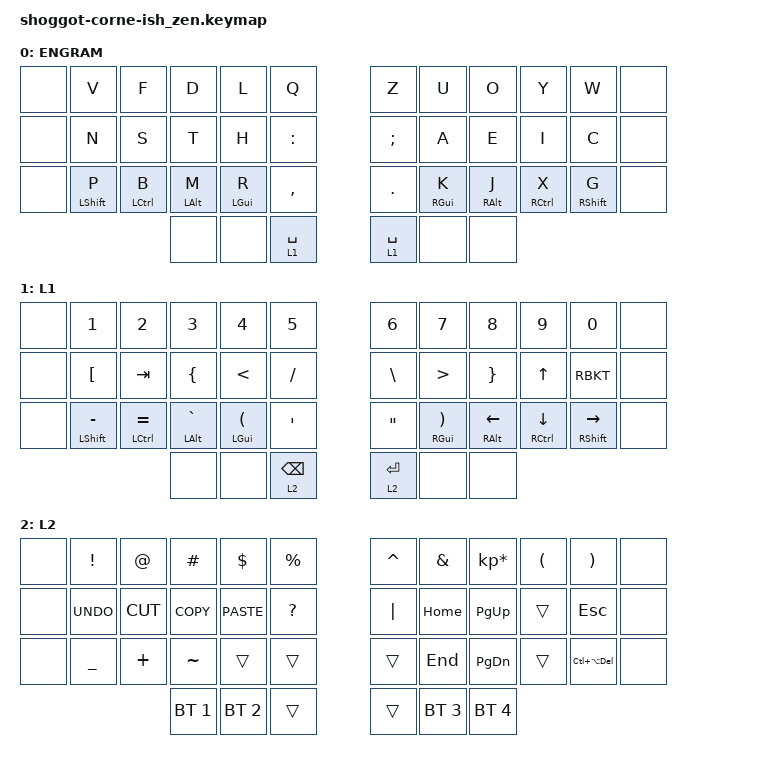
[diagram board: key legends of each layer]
/*
*
* Copyright (c) 2021 Darryl deHaan
* SPDX-License-Identifier: MIT
*
*/

#include <behaviors.dtsi>
#include <dt-bindings/zmk/keys.h>
#include <dt-bindings/zmk/bt.h>

/ {
        keymap {
                compatible = "zmk,keymap";

                default_layer {
                        label = "ENGRAM";
// -----------------------------------------------------------------------------------------
// |  --- |  V  |  F  |  D  |  L  |  Q  |   |  Z  |  U   |  O  |  Y  |  W  | ---  |     &bt BT_SEL 1 &bt BT_SEL 2 &bt BT_SEL 3 &bt BT_SEL 4
// |  --- |  N  |  S  |  T  |  H  |  :  |   |  ;  |  A   |  E  |  I  |  C  | ---  |
// |  --- |  P  |  B  |  M  |  R  |  ,  |   |  .  |  K   |  J  |  X  |  G  | ---  |
//                    | --- | --- | SPC |   | SPC | ---  | --- |                          &mt LSHIFT A
                        bindings = <
   &none &kp V &kp F &kp D &kp L &kp Q                               &kp Z &kp U &kp O  &kp Y &kp W &none 
   &none &kp N &kp S &kp T &kp H &kp COLON                           &kp SEMICOLON &kp A &kp E  &kp I &kp C &none 
   &none &mt LSHIFT P &mt LCTRL B &mt LALT M &mt LGUI R &kp COMMA    &kp PERIOD &mt RGUI K &mt RALT J &mt RCTRL X &mt RSHIFT G &none 
                  &none &none &lt 1 SPACE   &lt 1 SPACE &none &none 
                        >;
                };
                lower_layer {
                        label = "L1";
// -----------------------------------------------------------------------------------------
// |  --- |  1  |  2  |  3  |  4  |  5  |   |  6  |  7  |  8  |  9  |  0  | ---  |
// |  --- |  [  | TAB |  {  |  <  |  /  |   |  \  |  >  |  }  | UP  |  ]  | ---  |
// |  --- |  -  |  =  |  `  |  (  |  '  |   |  "  |  )  | LFT | DWN | RGT | ---  |
//                    | --- |     |BKSPC|   | ENT |     | --- |
                        bindings = <
   &none &kp N1 &kp N2 &kp N3 &kp N4 &kp N5                &kp N6 &kp N7 &kp N8 &kp N9 &kp N0 &none 
   &none &kp LBKT &kp TAB &kp LBRC &kp LT &kp FSLH           &kp BSLH &kp GT &kp RBRC &kp UP &RBKT &none 
   &none &mt LSHIFT MINUS &mt LCTRL EQUAL &mt LALT GRAVE &mt LGUI LPAR &kp SQT    &kp DQT &mt RGUI RPAR &mt RALT LEFT &mt RCTRL DOWN &mt RSHIFT RIGHT &none 
                          	 &none &none &lt 2 BSPC    &lt 2 ENTER &none &none 
                        >;
                };

                raise_layer {
                        label = "L2";
// -----------------------------------------------------------------------------------------
// |  --- |  !  |  @  |  #  |  $  |  %  |   |  ^  |  &  |  *  |  (  |  )  | ---  |
// |  --- |  z  |  x  |  c  |  v  |  ?  |   | "|" | HOM | PUP | --- | ESC | ---  |
// |  --- |  _  |  +  |  ~  | --- | --- |   | --- | END | PDN | --- | CAD | ---  |
//                    | BT1 | BT2 | --- |   | --- | BT3 | BT4 |
                        bindings = <
   &none &kp EXCL &kp AT &kp HASH &kp DLLR &kp PRCNT              &kp CARET &kp AMPS  &kp KP_MULTIPLY &kp LPAR &kp RPAR &none 
   &none &kp K_UNDO &kp K_CUT &kp K_COPY &kp K_PASTE &kp QMARK    &kp PIPE &kp HOME &kp PG_UP &trans &kp ESC &none 
   &none &kp UNDER &kp PLUS &kp TILDE &trans &trans               &trans &kp END  &kp PG_DN &trans &kp LC(LA(DEL)) &none 
                    	    &bt BT_SEL 1 &bt BT_SEL 2 &trans    &trans &bt BT_SEL 3 &bt BT_SEL 4
                        >;
                };
        };
};
